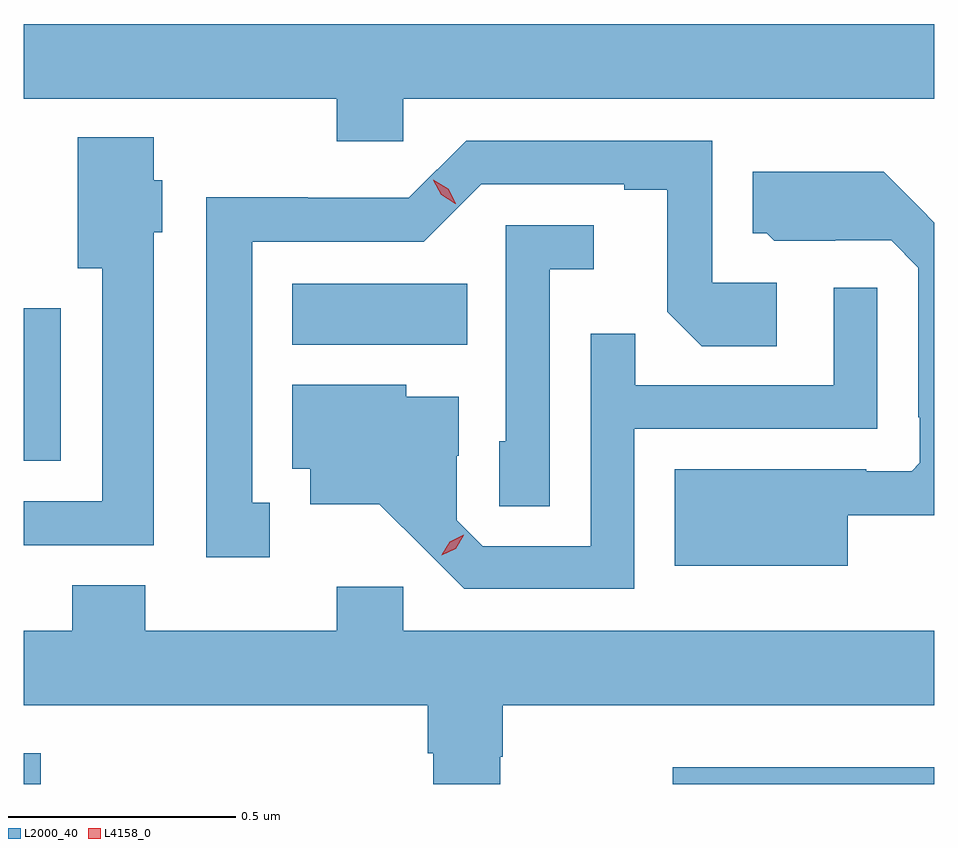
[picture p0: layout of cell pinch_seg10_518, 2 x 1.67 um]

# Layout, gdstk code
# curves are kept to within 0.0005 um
import gdstk
lib = gdstk.Library(unit=1e-6, precision=1e-09)
def R(c, l, rs):  # rectangles x0, y0, x1, y1
    for r in rs: c.add(gdstk.rectangle(r[:2], r[2:], *l))
def P(c, l, *ps):  # polygons
    for p in ps: c.add(gdstk.Polygon(p, *l))
L2000_40 = (2000, 40)
L4158_0 = (4158, 0)

pinch_seg10_518 = lib.new_cell('pinch_seg10_518')
R(pinch_seg10_518, L2000_40, [(269.982,1305.471,270.02,1305.538), (271.407,1305.471,271.982,1305.508), (269.982,1306.181,270.064,1306.516), (270.572,1306.436,270.956,1306.57)])
P(pinch_seg10_518, L2000_40, [(270.816,1306.976),(271.982,1306.976),(271.982,1307.14),(269.982,1307.14),(269.982,1306.976),(270.67,1306.976),(270.67,1306.883),(270.816,1306.883)],
  [(270.268,1306.683),(270.286,1306.683),(270.286,1306.797),(270.268,1306.797),(270.268,1306.891),(270.101,1306.891),(270.101,1306.604),(270.155,1306.604),(270.155,1306.092),(269.982,1306.092),(269.982,1305.995),(270.268,1305.995)],
  [(270.523,1306.089),(270.484,1306.089),(270.484,1306.662),(270.861,1306.662),(270.987,1306.788),(271.301,1306.788),(271.301,1306.776),(271.395,1306.776),(271.395,1306.508),(271.471,1306.432),(271.636,1306.432),(271.636,1306.572),(271.494,1306.572),(271.494,1306.884),(270.954,1306.884),(270.828,1306.758),(270.606,1306.758),(270.606,1306.76),(270.383,1306.76),(270.383,1305.969),(270.523,1305.969)],
  [(271.792,1306.061),(271.982,1306.061),(271.982,1306.704),(271.871,1306.816),(271.583,1306.816),(271.583,1306.68),(271.614,1306.68),(271.63,1306.664),(271.764,1306.664),(271.764,1306.665),(271.887,1306.665),(271.947,1306.605),(271.947,1306.276),(271.95,1306.276),(271.95,1306.176),(271.932,1306.158),(271.832,1306.158),(271.832,1306.162),(271.412,1306.162),(271.412,1305.95),(271.792,1305.95)],
  [(271.137,1306.601),(271.234,1306.601),(271.234,1306.698),(271.041,1306.698),(271.041,1306.224),(271.026,1306.224),(271.026,1306.081),(271.137,1306.081)],
  [(271.323,1306.251),(271.857,1306.251),(271.857,1306.561),(271.761,1306.561),(271.761,1306.347),(271.325,1306.347),(271.325,1306.46),(271.227,1306.46),(271.227,1305.993),(270.99,1305.993),(270.933,1306.05),(270.933,1306.192),(270.937,1306.192),(270.937,1306.321),(270.822,1306.321),(270.822,1306.348),(270.572,1306.348),(270.572,1306.163),(270.611,1306.163),(270.611,1306.085),(270.763,1306.085),(270.95,1305.9),(271.323,1305.9)],
  [(271.029,1305.531),(271.034,1305.531),(271.034,1305.644),(271.982,1305.644),(271.982,1305.808),(270.816,1305.808),(270.816,1305.904),(270.67,1305.904),(270.67,1305.808),(270.249,1305.808),(270.249,1305.907),(270.089,1305.907),(270.089,1305.808),(269.982,1305.808),(269.982,1305.644),(270.869,1305.644),(270.869,1305.538),(270.881,1305.538),(270.881,1305.471),(271.029,1305.471)])
P(pinch_seg10_518, L4158_0, [(270.9,1305.973),(270.9,1305.974),(270.918,1306.003),(270.949,1306.018),(270.949,1306.018),(270.949,1306.017),(270.931,1305.988),(270.9,1305.973)],
  [(270.93,1306.745),(270.899,1306.765),(270.882,1306.797),(270.882,1306.798),(270.882,1306.798),(270.914,1306.778),(270.931,1306.746),(270.931,1306.745)])

lib.write_gds('pinch_seg10_518.gds')
